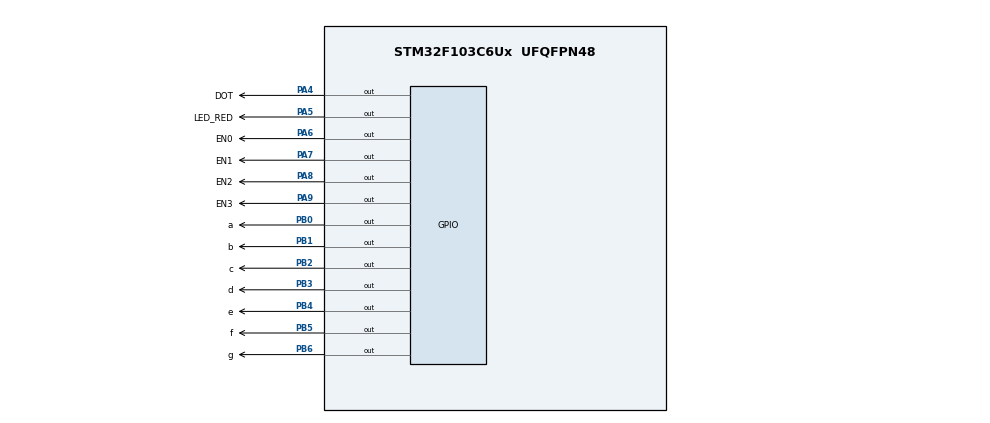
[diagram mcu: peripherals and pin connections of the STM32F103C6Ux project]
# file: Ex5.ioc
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Mcu.Family=STM32F1
Mcu.Name=STM32F103C6Ux
Mcu.Package=UFQFPN48
NVIC.PriorityGroup=NVIC_PRIORITYGROUP_4
NVIC.TIM2_IRQn=true\:0\:0\:false\:false\:true\:true\:true
PA4.GPIO_Label=DOT
PA4.Signal=GPIO_Output
PA5.GPIO_Label=LED_RED
PA5.Signal=GPIO_Output
PA6.GPIO_Label=EN0
PA6.Signal=GPIO_Output
PA7.GPIO_Label=EN1
PA7.Signal=GPIO_Output
PA8.GPIO_Label=EN2
PA8.Signal=GPIO_Output
PA9.GPIO_Label=EN3
PA9.Signal=GPIO_Output
PB0.GPIO_Label=a
PB0.Signal=GPIO_Output
PB1.GPIO_Label=b
PB1.Signal=GPIO_Output
PB2.GPIO_Label=c
PB2.Signal=GPIO_Output
PB3.GPIO_Label=d
PB3.Signal=GPIO_Output
PB4.GPIO_Label=e
PB4.Signal=GPIO_Output
PB5.GPIO_Label=f
PB5.Signal=GPIO_Output
PB6.GPIO_Label=g
PB6.Signal=GPIO_Output
ProjectManager.HeapSize=0x200
ProjectManager.StackSize=0x400
ProjectManager.TargetToolchain=STM32CubeIDE
RCC.APB1Freq_Value=8000000
RCC.APB2Freq_Value=8000000
TIM2.Period=9
TIM2.Prescaler=7999
VP_SYS_VS_ND.Mode=No_Debug
VP_TIM2_VS_ClockSourceINT.Mode=Internal
board=custom

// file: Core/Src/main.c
/* USER CODE BEGIN Header */
/**
  ******************************************************************************
  * @file           : main.c
  * @brief          : Main program body
  ******************************************************************************
  * @attention
  *
  * <h2><center>&copy; Copyright (c) 2024 STMicroelectronics.
  * All rights reserved.</center></h2>
  *
  * This software component is licensed by ST under BSD 3-Clause license,
  * the "License"; You may not use this file except in compliance with the
  * License. You may obtain a copy of the License at:
  *                        opensource.org/licenses/BSD-3-Clause
  *
  ******************************************************************************
  */
/* USER CODE END Header */
#include "main.h"

#include "display7SEG.h"
#include "counter_timer.h"

TIM_HandleTypeDef htim2;

void SystemClock_Config(void);
static void MX_GPIO_Init(void);
static void MX_TIM2_Init(void);

int main(void)
{

  /* MCU Configuration--------------------------------------------------------*/

  /* Reset of all peripherals, Initializes the Flash interface and the Systick. */
  HAL_Init();

  /* Configure the system clock */
  SystemClock_Config();

  /* Initialize all configured peripherals */
  MX_GPIO_Init();
  MX_TIM2_Init();
  /* USER CODE BEGIN 2 */
  HAL_TIM_Base_Start_IT(&htim2);
  /* USER CODE END 2 */

  /* Infinite loop */
  /* USER CODE BEGIN WHILE */
  hour = 15;
  minute = 8;
  second = 50;
  setTimer1(100);
  setTimer2(1);
  while (1)
  {
	  if(timer2_flag == 1){
		  if(index_led > 3) index_led = 0;
		  update7SEG(index_led++);

		  setTimer2(20);
	  }

	  if(timer1_flag == 1){
		  second++;
	  	  if(second >= 60){
		  	  second = 0;
		  	  minute++;
	  	  }
	  	  if(minute >= 60){
		  	  minute = 0;
		  	  hour++;
	  	  }
	  	  if(hour >= 24){
		  	  hour = 0;
	  	  }
	  	  updateClockBuffer();

	  	  HAL_GPIO_TogglePin(LED_RED_GPIO_Port, LED_RED_Pin);
	  	  HAL_GPIO_TogglePin(DOT_GPIO_Port, DOT_Pin);

		  setTimer1(100);
	  }
    /* USER CODE END WHILE */

  }
}

void SystemClock_Config(void)
{
  RCC_OscInitTypeDef RCC_OscInitStruct = {0};
  RCC_ClkInitTypeDef RCC_ClkInitStruct = {0};

  /** Initializes the RCC Oscillators according to the specified parameters
  * in the RCC_OscInitTypeDef structure.
  */
  RCC_OscInitStruct.OscillatorType = RCC_OSCILLATORTYPE_HSI;
  RCC_OscInitStruct.HSIState = RCC_HSI_ON;
  RCC_OscInitStruct.HSICalibrationValue = RCC_HSICALIBRATION_DEFAULT;
  RCC_OscInitStruct.PLL.PLLState = RCC_PLL_NONE;
  if (HAL_RCC_OscConfig(&RCC_OscInitStruct) != HAL_OK)
  {
    Error_Handler();
  }
  /** Initializes the CPU, AHB and APB buses clocks
  */
  RCC_ClkInitStruct.ClockType = RCC_CLOCKTYPE_HCLK|RCC_CLOCKTYPE_SYSCLK
                              |RCC_CLOCKTYPE_PCLK1|RCC_CLOCKTYPE_PCLK2;
  RCC_ClkInitStruct.SYSCLKSource = RCC_SYSCLKSOURCE_HSI;
  RCC_ClkInitStruct.AHBCLKDivider = RCC_SYSCLK_DIV1;
  RCC_ClkInitStruct.APB1CLKDivider = RCC_HCLK_DIV1;
  RCC_ClkInitStruct.APB2CLKDivider = RCC_HCLK_DIV1;

  if (HAL_RCC_ClockConfig(&RCC_ClkInitStruct, FLASH_LATENCY_0) != HAL_OK)
  {
    Error_Handler();
  }
}

static void MX_TIM2_Init(void)
{

  TIM_ClockConfigTypeDef sClockSourceConfig = {0};
  TIM_MasterConfigTypeDef sMasterConfig = {0};

  htim2.Instance = TIM2;
  htim2.Init.Prescaler = 7999;
  htim2.Init.CounterMode = TIM_COUNTERMODE_UP;
  htim2.Init.Period = 9;
  htim2.Init.ClockDivision = TIM_CLOCKDIVISION_DIV1;
  htim2.Init.AutoReloadPreload = TIM_AUTORELOAD_PRELOAD_DISABLE;
  if (HAL_TIM_Base_Init(&htim2) != HAL_OK)
  {
    Error_Handler();
  }
  sClockSourceConfig.ClockSource = TIM_CLOCKSOURCE_INTERNAL;
  if (HAL_TIM_ConfigClockSource(&htim2, &sClockSourceConfig) != HAL_OK)
  {
    Error_Handler();
  }
  sMasterConfig.MasterOutputTrigger = TIM_TRGO_RESET;
  sMasterConfig.MasterSlaveMode = TIM_MASTERSLAVEMODE_DISABLE;
  if (HAL_TIMEx_MasterConfigSynchronization(&htim2, &sMasterConfig) != HAL_OK)
  {
    Error_Handler();
  }

}

static void MX_GPIO_Init(void)
{
  GPIO_InitTypeDef GPIO_InitStruct = {0};

  /* GPIO Ports Clock Enable */
  __HAL_RCC_GPIOA_CLK_ENABLE();
  __HAL_RCC_GPIOB_CLK_ENABLE();

  /*Configure GPIO pin Output Level */
  HAL_GPIO_WritePin(GPIOA, DOT_Pin|LED_RED_Pin|EN0_Pin|EN1_Pin
                          |EN2_Pin|EN3_Pin, GPIO_PIN_RESET);

  /*Configure GPIO pin Output Level */
  HAL_GPIO_WritePin(GPIOB, a_Pin|b_Pin|c_Pin|d_Pin
                          |e_Pin|f_Pin|g_Pin, GPIO_PIN_RESET);

  /*Configure GPIO pins : DOT_Pin LED_RED_Pin EN0_Pin EN1_Pin
                           EN2_Pin EN3_Pin */
  GPIO_InitStruct.Pin = DOT_Pin|LED_RED_Pin|EN0_Pin|EN1_Pin
                          |EN2_Pin|EN3_Pin;
  GPIO_InitStruct.Mode = GPIO_MODE_OUTPUT_PP;
  GPIO_InitStruct.Pull = GPIO_NOPULL;
  GPIO_InitStruct.Speed = GPIO_SPEED_FREQ_LOW;
  HAL_GPIO_Init(GPIOA, &GPIO_InitStruct);

  /*Configure GPIO pins : a_Pin b_Pin c_Pin d_Pin
                           e_Pin f_Pin g_Pin */
  GPIO_InitStruct.Pin = a_Pin|b_Pin|c_Pin|d_Pin
                          |e_Pin|f_Pin|g_Pin;
  GPIO_InitStruct.Mode = GPIO_MODE_OUTPUT_PP;
  GPIO_InitStruct.Pull = GPIO_NOPULL;
  GPIO_InitStruct.Speed = GPIO_SPEED_FREQ_LOW;
  HAL_GPIO_Init(GPIOB, &GPIO_InitStruct);

}

/* USER CODE BEGIN 4 */
int counter = 100;
void HAL_TIM_PeriodElapsedCallback(TIM_HandleTypeDef *htim){
	timer1Run();
	timer2Run();
}
/* USER CODE END 4 */

void Error_Handler(void)
{
  __disable_irq();
  while (1)
  {
  }
}

/************************ (C) COPYRIGHT STMicroelectronics *****END OF FILE****/
